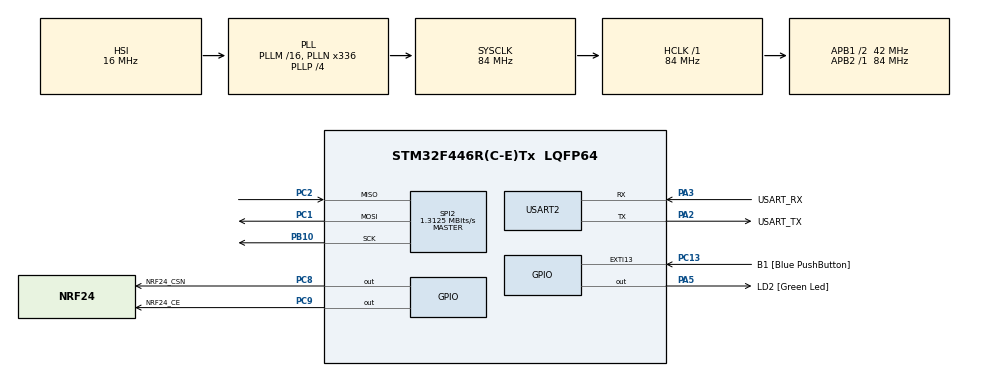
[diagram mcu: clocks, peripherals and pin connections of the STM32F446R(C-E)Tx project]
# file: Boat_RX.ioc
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Mcu.Family=STM32F4
Mcu.Name=STM32F446R(C-E)Tx
Mcu.Package=LQFP64
NVIC.PriorityGroup=NVIC_PRIORITYGROUP_0
PA13.GPIO_Label=TMS
PA13.Mode=Serial_Wire
PA13.Signal=SYS_JTMS-SWDIO
PA14.GPIO_Label=TCK
PA14.Mode=Serial_Wire
PA14.Signal=SYS_JTCK-SWCLK
PA2.GPIO_Label=USART_TX
PA2.Mode=Asynchronous
PA2.Signal=USART2_TX
PA3.GPIO_Label=USART_RX
PA3.Mode=Asynchronous
PA3.Signal=USART2_RX
PA5.GPIO_Label=LD2 [Green Led]
PA5.Signal=GPIO_Output
PB10.Mode=Full_Duplex_Master
PB10.Signal=SPI2_SCK
PB3.GPIO_Label=SWO
PB3.Signal=SYS_JTDO-SWO
PC1.Mode=Full_Duplex_Master
PC1.Signal=SPI2_MOSI
PC13.GPIO_Label=B1 [Blue PushButton]
PC13.GPIO_ModeDefaultEXTI=GPIO_MODE_IT_FALLING
PC13.Signal=GPXTI13
PC14-OSC32_IN.Mode=LSE-External-Oscillator
PC14-OSC32_IN.Signal=RCC_OSC32_IN
PC15-OSC32_OUT.Mode=LSE-External-Oscillator
PC15-OSC32_OUT.Signal=RCC_OSC32_OUT
PC2.Mode=Full_Duplex_Master
PC2.Signal=SPI2_MISO
PC8.GPIO_Label=NRF24_CSN
PC8.Signal=GPIO_Output
PC9.GPIO_Label=NRF24_CE
PC9.Signal=GPIO_Output
PH0-OSC_IN.Mode=HSE-External-Oscillator
PH0-OSC_IN.Signal=RCC_OSC_IN
PH1-OSC_OUT.Mode=HSE-External-Oscillator
PH1-OSC_OUT.Signal=RCC_OSC_OUT
ProjectManager.HeapSize=0x200
ProjectManager.StackSize=0x400
ProjectManager.TargetToolchain=STM32CubeIDE
RCC.48MHZClocksFreq_Value=84000000
RCC.AHBFreq_Value=84000000
RCC.APB1CLKDivider=RCC_HCLK_DIV2
RCC.APB1Freq_Value=42000000
RCC.APB1TimFreq_Value=84000000
RCC.APB2Freq_Value=84000000
RCC.APB2TimFreq_Value=84000000
RCC.CortexFreq_Value=84000000
RCC.FLatency-AdvancedSettings=FLASH_LATENCY_2
RCC.HCLKFreq_Value=84000000
RCC.HSE_VALUE=8000000
RCC.HSI_VALUE=16000000
RCC.PLLN=336
RCC.PLLP=RCC_PLLP_DIV4
RCC.SYSCLKFreq_VALUE=84000000
RCC.SYSCLKSource=RCC_SYSCLKSOURCE_PLLCLK
RCC.USBFreq_Value=168000000
RCC.VCOOutputFreq_Value=336000000
SPI2.BaudRatePrescaler=SPI_BAUDRATEPRESCALER_32
SPI2.CalculateBaudRate=1.3125 MBits/s
SPI2.Direction=SPI_DIRECTION_2LINES
SPI2.Mode=SPI_MODE_MASTER
SPI2.VirtualType=VM_MASTER
USART2.VirtualMode=VM_ASYNC
board=NUCLEO-F446RE

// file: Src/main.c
/* USER CODE BEGIN Header */
/**
  ******************************************************************************
  * @file           : main.c
  * @brief          : Main program body
  ******************************************************************************
  * @attention
  *
  * <h2><center>&copy; Copyright (c) 2020 STMicroelectronics.
  * All rights reserved.</center></h2>
  *
  * This software component is licensed by ST under BSD 3-Clause license,
  * the "License"; You may not use this file except in compliance with the
  * License. You may obtain a copy of the License at:
  *                        opensource.org/licenses/BSD-3-Clause
  *
  ******************************************************************************
  */
/* USER CODE END Header */

#include "main.h"
#include "spi.h"
#include "usart.h"
#include "gpio.h"

/* USER CODE BEGIN Includes */
#include "MY_NRF24.h"
/* USER CODE END Includes */

/* USER CODE BEGIN PV */
const uint64_t rx_pipe_addr = 0x11223344AA;
uint8_t my_rx_data[50];
/* USER CODE END PV */

void SystemClock_Config(void);

int main(void)
{

  /* MCU Configuration--------------------------------------------------------*/

  /* Reset of all peripherals, Initializes the Flash interface and the Systick. */
  HAL_Init();

  /* Configure the system clock */
  SystemClock_Config();

  /* Initialize all configured peripherals */
  MX_GPIO_Init();
  MX_USART2_UART_Init();
  MX_SPI2_Init();
  /* USER CODE BEGIN 2 */
  NRF24_begin(GPIOC, NRF24_CSN_Pin, NRF24_CE_Pin, hspi2);
  nrf24_DebugUART_Init(huart2);

  printRadioSettings();

  NRF24_setAutoAck(false);
  NRF24_setChannel(52);
  NRF24_setPayloadSize(32);
  NRF24_openReadingPipe(1, rx_pipe_addr);
  NRF24_startListening();

  uint8_t size;
  /* USER CODE END 2 */

  /* Infinite loop */
  /* USER CODE BEGIN WHILE */
  while (1)
  {
	  if(NRF24_available()){
		  NRF24_read(my_rx_data, 32);

		  my_rx_data[32] = '\r';
		  my_rx_data[33] = '\n';
		  HAL_UART_Transmit(&huart2, my_rx_data, 34, 100);
	  }
    /* USER CODE END WHILE */

  }
}

void SystemClock_Config(void)
{
  RCC_OscInitTypeDef RCC_OscInitStruct = {0};
  RCC_ClkInitTypeDef RCC_ClkInitStruct = {0};

  /** Configure the main internal regulator output voltage
  */
  __HAL_RCC_PWR_CLK_ENABLE();
  __HAL_PWR_VOLTAGESCALING_CONFIG(PWR_REGULATOR_VOLTAGE_SCALE3);
  /** Initializes the CPU, AHB and APB busses clocks
  */
  RCC_OscInitStruct.OscillatorType = RCC_OSCILLATORTYPE_HSI;
  RCC_OscInitStruct.HSIState = RCC_HSI_ON;
  RCC_OscInitStruct.HSICalibrationValue = RCC_HSICALIBRATION_DEFAULT;
  RCC_OscInitStruct.PLL.PLLState = RCC_PLL_ON;
  RCC_OscInitStruct.PLL.PLLSource = RCC_PLLSOURCE_HSI;
  RCC_OscInitStruct.PLL.PLLM = 16;
  RCC_OscInitStruct.PLL.PLLN = 336;
  RCC_OscInitStruct.PLL.PLLP = RCC_PLLP_DIV4;
  RCC_OscInitStruct.PLL.PLLQ = 2;
  RCC_OscInitStruct.PLL.PLLR = 2;
  if (HAL_RCC_OscConfig(&RCC_OscInitStruct) != HAL_OK)
  {
    Error_Handler();
  }
  /** Initializes the CPU, AHB and APB busses clocks
  */
  RCC_ClkInitStruct.ClockType = RCC_CLOCKTYPE_HCLK|RCC_CLOCKTYPE_SYSCLK
                              |RCC_CLOCKTYPE_PCLK1|RCC_CLOCKTYPE_PCLK2;
  RCC_ClkInitStruct.SYSCLKSource = RCC_SYSCLKSOURCE_PLLCLK;
  RCC_ClkInitStruct.AHBCLKDivider = RCC_SYSCLK_DIV1;
  RCC_ClkInitStruct.APB1CLKDivider = RCC_HCLK_DIV2;
  RCC_ClkInitStruct.APB2CLKDivider = RCC_HCLK_DIV1;

  if (HAL_RCC_ClockConfig(&RCC_ClkInitStruct, FLASH_LATENCY_2) != HAL_OK)
  {
    Error_Handler();
  }
}

void Error_Handler(void)
{
}

/************************ (C) COPYRIGHT STMicroelectronics *****END OF FILE****/
